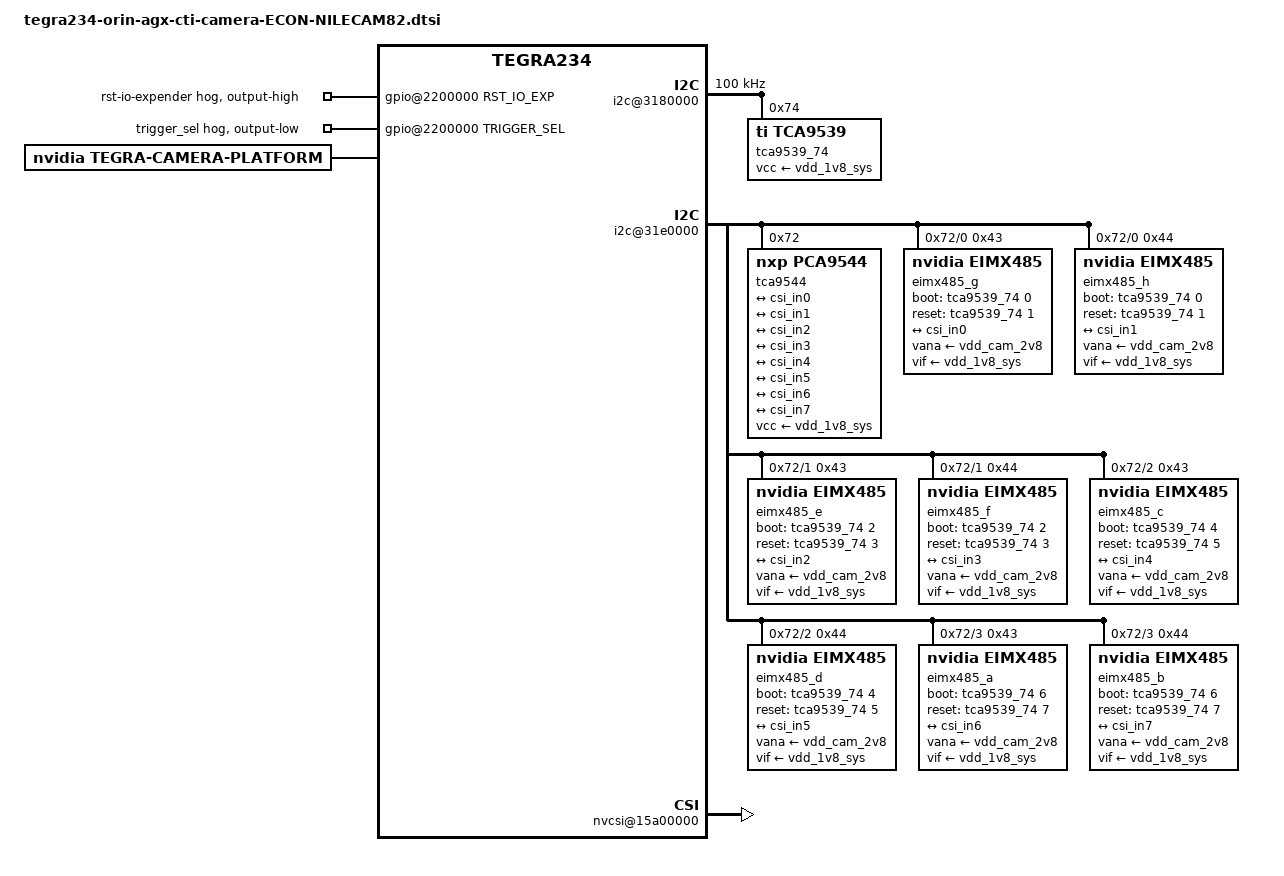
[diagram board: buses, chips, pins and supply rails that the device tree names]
/*
 * Copyright (c) 2022, Connect Tech Inc.  All rights reserved.
 *
 * This program is free software; you can redistribute it and/or modify it
 * under the terms and conditions of the GNU General Public License,
 * version 2, as published by the Free Software Foundation.
 *
 * This program is distributed in the hope it will be useful, but WITHOUT
 * ANY WARRANTY; without even the implied warranty of MERCHANTABILITY or
 * FITNESS FOR A PARTICULAR PURPOSE.  See the GNU General Public License for
 * more details.
 *
 * You should have received a copy of the GNU General Public License
 * along with this program.  If not, see <http://www.gnu.org/licenses/>.
 */

#include "tegra234-orin-agx-cti-csi.dtsi"
#include "tegra234-orin-agx-cti-ECON-HEXCUXVR.dtsi"
#include "dt-bindings/clock/tegra234-clock.h"


#define RST_IO_EXP TEGRA234_MAIN_GPIO(AC,1)
#define PWM_CALIB_GPIO TEGRA234_MAIN_GPIO(H,7) //CAM0_PWDN
#define TRIGGER_SEL TEGRA234_MAIN_GPIO(I,0) //CAM0_RST

#define CAM_LANES 4
#define CAM_LANES_STRING "4" 
#define SERDES_PIX_CLK   "600000000"
#define SERDES_PIX_CLK_4K "750000000" 
#define PIX_CLK SERDES_PIX_CLK

/ {

	gpio@2200000 {
		camera-control-output-high {
			status = "okay";
			gpio-hog;
			gpios = <RST_IO_EXP 0>;
			output-high;
			label = "rst-io-expender"; 
		};
		camera-control-output-low {
			status = "okay";
			gpio-hog;
			gpios = <TRIGGER_SEL 0>;
			output-low;
			label = "trigger_sel";
		};
	};

	i2c@3180000 {
		clock-frequency = <100000>;
		tca9539_74: tca9539@74 {
			compatible = "ti,tca9539";
			gpio-controller;
			#gpio-cells = <2>;
			reg = <0x74>;
			vcc-supply = <&vdd_1v8_sys>;
			status = "okay";
			
			tca9539_74_outlow {
				status = "okay";
				gpio-hog;
				gpios = <0 0 1 0 2 0 3 0 4 0 5 0 6 0 7 0 8 0 9 0 10 0 11 0 12 0 13 0>;
				output-low;
				label = "RST_A","PWDN_A","RST_B","PWDN_B","RST_C","PWDN_C","RST_D","PWDN_D";
			};
			tca9539_74_outhigh {
				status = "disabled";
			};
			tca9539_74_input {
				status = "disabled";
			};
		};
	};

    i2c@31e0000 {
	status = "okay";
	#address-cells = <1>;
	#size-cells = <0>;
        tca9544@72 {
	    status = "okay";
	    compatible = "nxp,pca9544";
	    reg = <0x72>;
	    #address-cells = <1>;
	    #size-cells = <0>;
	    vcc-supply = <&vdd_1v8_sys>;
	    skip_mux_detect;
	    force_bus_start = <0x28>;
            i2c@0 {
                status = "okay";
		reg = <0>;
		i2c-mux,deselect-on-exit;
		#address-cells = <1>;
		#size-cells = <0>;

		eimx485_g@43 {		
			status = "okay";
			compatible ="nvidia,eimx485";
			reg = <0x43>;
			devnode = "video0";
			sensor_model = "eimx485";
			physical_w = "5.60";
			physical_h = "3.175";
			use_decibel_gain = "true";
			use_sensor_mode_id = "true";
			use_dol_wdr_mode = "false";
			use_master_slave_mode = "true";
			limit_analog_gain = "true";
			camera_mipi_lanes =  /bits/ 8 <2>;
			avdd-reg = "vana";
			iovdd-reg = "vif";
			clocks = <&bpmp_clks TEGRA234_CLK_EXTPERIPH1>, <&bpmp_clks TEGRA234_CLK_EXTPERIPH1>;
			clock-names = "extperiph1","pllp_grtba";
			mclk = "extperiph1";
			boot-gpios = <&tca9539_74 0 GPIO_ACTIVE_HIGH>;
			reset-gpios = <&tca9539_74 1 GPIO_ACTIVE_HIGH>;
			vana-supply = <&vdd_cam_2v8>;
			vif-supply = <&vdd_1v8_sys>;
			sio-port = "A";
	 
#define LOCAL_VC_ID "1"
#define TEGRA_SINTERFACE "serial_g"
#include "nilecam_imx485_modes.dtsi"


			ports {
				#address-cells = <1>;
				#size-cells = <0>;
				
				port@0 {
					reg = <0>;
					cam_out0: endpoint {
						status = "okay";
						vc-id = <1>;
						port-index = <6>;
						bus-width = <4>; //<2>;
						remote-endpoint = <&csi_in0>;
					};
				};
			};	
		};     
		eimx485_h@44 {
			status = "okay";
			compatible ="nvidia,eimx485";
			reg = <0x44>;
			devnode = "video1";
			sensor_model = "eimx485";
			physical_w = "5.60";
			physical_h = "3.175";
			use_decibel_gain = "true";
			use_sensor_mode_id = "true";
			use_dol_wdr_mode = "false";
			use_master_slave_mode = "true";
			limit_analog_gain = "true";
			camera_mipi_lanes =  /bits/ 8 <2>;
			avdd-reg = "vana";
			iovdd-reg = "vif";
			clocks = <&bpmp_clks TEGRA234_CLK_EXTPERIPH1>, <&bpmp_clks TEGRA234_CLK_EXTPERIPH1>;
			clock-names = "extperiph1","pllp_grtba";
			mclk = "extperiph1";
			boot-gpios = <&tca9539_74 0 GPIO_ACTIVE_HIGH>;
			reset-gpios = <&tca9539_74 1 GPIO_ACTIVE_HIGH>;
			vana-supply = <&vdd_cam_2v8>;
			vif-supply = <&vdd_1v8_sys>;
			sio-port = "B";
#undef TEGRA_SINTERFACE
#define TEGRA_SINTERFACE "serial_g" //og h
#undef LOCAL_VC_ID
#define LOCAL_VC_ID "0"
#include "nilecam_imx485_modes.dtsi"

			ports {
				#address-cells = <1>;
				#size-cells = <0>;
				port@0 {
					reg = <0>;
					cam_out1: endpoint {
						status = "okay";
						vc-id = <0>;
						port-index = <6>;
						//port-index = <6>;
						bus-width = <4>;
						//bus-width = <CAM_LANES>;
						remote-endpoint = <&csi_in1>;
					};
				};
			};	
		};           
            };

	    i2c@1 {
		status = "okay";
		reg = <1>;
		i2c-mux,deselect-on-exit;
		#address-cells = <1>;
		#size-cells = <0>;
		eimx485_e@43 {		
			status = "okay";
			compatible ="nvidia,eimx485";
			reg = <0x43>;
			devnode = "video2";
			sensor_model = "eimx485";
			physical_w = "5.60";
			physical_h = "3.175";
			use_decibel_gain = "true";
			use_sensor_mode_id = "true";
			use_dol_wdr_mode = "false";
			use_master_slave_mode = "true";
			limit_analog_gain = "true";
			camera_mipi_lanes =  /bits/ 8 <2>;
			avdd-reg = "vana";
			iovdd-reg = "vif";
			clocks = <&bpmp_clks TEGRA234_CLK_EXTPERIPH1>, <&bpmp_clks TEGRA234_CLK_EXTPERIPH1>;
			clock-names = "extperiph1","pllp_grtba";
			mclk = "extperiph1";
			boot-gpios = <&tca9539_74 2 GPIO_ACTIVE_HIGH>;
			reset-gpios = <&tca9539_74 3 GPIO_ACTIVE_HIGH>;
			vana-supply = <&vdd_cam_2v8>;
			vif-supply = <&vdd_1v8_sys>;
			sio-port = "A";
	 
#define LOCAL_VC_ID "1"
#define TEGRA_SINTERFACE "serial_e"
#include "nilecam_imx485_modes.dtsi"


			ports {
				#address-cells = <1>;
				#size-cells = <0>;
				
				port@0 {
					reg = <0>;
					cam_out2: endpoint {
						status = "okay";
						vc-id = <1>;
						port-index = <4>;
						bus-width = <4>; //<2>;
						remote-endpoint = <&csi_in2>;
					};
				};
			};	
		};     
		eimx485_f@44 {
			status = "okay";
			compatible ="nvidia,eimx485";
			reg = <0x44>;
			devnode = "video3";
			sensor_model = "eimx485";
			physical_w = "5.60";
			physical_h = "3.175";
			use_decibel_gain = "true";
			use_sensor_mode_id = "true";
			use_dol_wdr_mode = "false";
			use_master_slave_mode = "true";
			limit_analog_gain = "true";
			camera_mipi_lanes =  /bits/ 8 <2>;
			avdd-reg = "vana";
			iovdd-reg = "vif";
			clocks = <&bpmp_clks TEGRA234_CLK_EXTPERIPH1>, <&bpmp_clks TEGRA234_CLK_EXTPERIPH1>;
			clock-names = "extperiph1","pllp_grtba";
			mclk = "extperiph1";
			boot-gpios = <&tca9539_74 2 GPIO_ACTIVE_HIGH>;
			reset-gpios = <&tca9539_74 3 GPIO_ACTIVE_HIGH>;
			vana-supply = <&vdd_cam_2v8>;
			vif-supply = <&vdd_1v8_sys>;
			sio-port = "B";
#undef TEGRA_SINTERFACE
#define TEGRA_SINTERFACE "serial_e" //og h
#undef LOCAL_VC_ID
#define LOCAL_VC_ID "0"
#include "nilecam_imx485_modes.dtsi"

			ports {
				#address-cells = <1>;
				#size-cells = <0>;
				port@0 {
					reg = <0>;
					cam_out3: endpoint {
						status = "okay";
						vc-id = <0>;
						port-index = <4>;
						//port-index = <6>;
						bus-width = <4>;
						//bus-width = <CAM_LANES>;
						remote-endpoint = <&csi_in3>;
					};
				};
			};	
		}; 
	    };

            i2c@2 {
                status = "okay";
                reg = <2>;
		i2c-mux,deselect-on-exit;
		#address-cells = <1>;
		#size-cells = <0>;
 		eimx485_c@43 {		
			status = "okay";
			compatible ="nvidia,eimx485";
			reg = <0x43>;
			devnode = "video4";
			sensor_model = "eimx485";
			physical_w = "5.60";
			physical_h = "3.175";
			use_decibel_gain = "true";
			use_sensor_mode_id = "true";
			use_dol_wdr_mode = "false";
			use_master_slave_mode = "true";
			limit_analog_gain = "true";
			camera_mipi_lanes =  /bits/ 8 <2>;
			avdd-reg = "vana";
			iovdd-reg = "vif";
			clocks = <&bpmp_clks TEGRA234_CLK_EXTPERIPH1>, <&bpmp_clks TEGRA234_CLK_EXTPERIPH1>;
			clock-names = "extperiph1","pllp_grtba";
			mclk = "extperiph1";
			boot-gpios = <&tca9539_74 4 GPIO_ACTIVE_HIGH>;
			reset-gpios = <&tca9539_74 5 GPIO_ACTIVE_HIGH>;
			vana-supply = <&vdd_cam_2v8>;
			vif-supply = <&vdd_1v8_sys>;
			sio-port = "A";
	 
#define LOCAL_VC_ID "1"
#define TEGRA_SINTERFACE "serial_c"
#include "nilecam_imx485_modes.dtsi"


			ports {
				#address-cells = <1>;
				#size-cells = <0>;
				
				port@0 {
					reg = <0>;
					cam_out4: endpoint {
						status = "okay";
						vc-id = <1>;
						port-index = <2>;
						bus-width = <4>; //<2>;
						remote-endpoint = <&csi_in4>;
					};
				};
			};	
		};     
		eimx485_d@44 {
			status = "okay";
			compatible ="nvidia,eimx485";
			reg = <0x44>;
			devnode = "video5";
			sensor_model = "eimx485";
			physical_w = "5.60";
			physical_h = "3.175";
			use_decibel_gain = "true";
			use_sensor_mode_id = "true";
			use_dol_wdr_mode = "false";
			use_master_slave_mode = "true";
			limit_analog_gain = "true";
			camera_mipi_lanes =  /bits/ 8 <2>;
			avdd-reg = "vana";
			iovdd-reg = "vif";
			clocks = <&bpmp_clks TEGRA234_CLK_EXTPERIPH1>, <&bpmp_clks TEGRA234_CLK_EXTPERIPH1>;
			clock-names = "extperiph1","pllp_grtba";
			mclk = "extperiph1";
			boot-gpios = <&tca9539_74 4 GPIO_ACTIVE_HIGH>;
			reset-gpios = <&tca9539_74 5 GPIO_ACTIVE_HIGH>;
			vana-supply = <&vdd_cam_2v8>;
			vif-supply = <&vdd_1v8_sys>;
			sio-port = "B";
#undef TEGRA_SINTERFACE
#define TEGRA_SINTERFACE "serial_c" //og h
#undef LOCAL_VC_ID
#define LOCAL_VC_ID "0"
#include "nilecam_imx485_modes.dtsi"

			ports {
				#address-cells = <1>;
				#size-cells = <0>;
				port@0 {
					reg = <0>;
					cam_out5: endpoint {
						status = "okay";
						vc-id = <0>;
						port-index = <2>;
						//port-index = <6>;
						bus-width = <4>;
						//bus-width = <CAM_LANES>;
						remote-endpoint = <&csi_in5>;
					};
				};
			};	
		};
            };
                
            i2c@3 {
                status = "okay";
		reg = <3>;
		i2c-mux,deselect-on-exit;
		#address-cells = <1>;
		#size-cells = <0>;
		eimx485_a@43 {		
			status = "okay";
			compatible ="nvidia,eimx485";
			reg = <0x43>;
			devnode = "video6";
			sensor_model = "eimx485";
			physical_w = "5.60";
			physical_h = "3.175";
			use_decibel_gain = "true";
			use_sensor_mode_id = "true";
			use_dol_wdr_mode = "false";
			use_master_slave_mode = "true";
			limit_analog_gain = "true";
			camera_mipi_lanes =  /bits/ 8 <2>;
			avdd-reg = "vana";
			iovdd-reg = "vif";
			clocks = <&bpmp_clks TEGRA234_CLK_EXTPERIPH1>, <&bpmp_clks TEGRA234_CLK_EXTPERIPH1>;
			clock-names = "extperiph1","pllp_grtba";
			mclk = "extperiph1";
			boot-gpios = <&tca9539_74 6 GPIO_ACTIVE_HIGH>;
			reset-gpios = <&tca9539_74 7 GPIO_ACTIVE_HIGH>;
			vana-supply = <&vdd_cam_2v8>;
			vif-supply = <&vdd_1v8_sys>;
			sio-port = "A";
	 
#define LOCAL_VC_ID "1"
#define TEGRA_SINTERFACE "serial_a"
#include "nilecam_imx485_modes.dtsi"


			ports {
				#address-cells = <1>;
				#size-cells = <0>;
				
				port@0 {
					reg = <0>;
					cam_out6: endpoint {
						status = "okay";
						vc-id = <1>;
						port-index = <0>;
						bus-width = <4>; //<2>;
						remote-endpoint = <&csi_in6>;
					};
				};
			};	
		};     
		eimx485_b@44 {
			status = "okay";
			compatible ="nvidia,eimx485";
			reg = <0x44>;
			devnode = "video7";
			sensor_model = "eimx485";
			physical_w = "5.60";
			physical_h = "3.175";
			use_decibel_gain = "true";
			use_sensor_mode_id = "true";
			use_dol_wdr_mode = "false";
			use_master_slave_mode = "true";
			limit_analog_gain = "true";
			camera_mipi_lanes =  /bits/ 8 <2>;
			avdd-reg = "vana";
			iovdd-reg = "vif";
			clocks = <&bpmp_clks TEGRA234_CLK_EXTPERIPH1>, <&bpmp_clks TEGRA234_CLK_EXTPERIPH1>;
			clock-names = "extperiph1","pllp_grtba";
			mclk = "extperiph1";
			boot-gpios = <&tca9539_74 6 GPIO_ACTIVE_HIGH>;
			reset-gpios = <&tca9539_74 7 GPIO_ACTIVE_HIGH>;
			vana-supply = <&vdd_cam_2v8>;
			vif-supply = <&vdd_1v8_sys>;
			sio-port = "B";
#undef TEGRA_SINTERFACE
#define TEGRA_SINTERFACE "serial_a" //og h
#undef LOCAL_VC_ID
#define LOCAL_VC_ID "0"
#include "nilecam_imx485_modes.dtsi"

			ports {
				#address-cells = <1>;
				#size-cells = <0>;
				port@0 {
					reg = <0>;
					cam_out7: endpoint {
						status = "okay";
						vc-id = <0>;
						port-index = <0>;
						//port-index = <6>;
						bus-width = <4>;
						//bus-width = <CAM_LANES>;
						remote-endpoint = <&csi_in7>;
					};
				};
			};	
		};
            };
        };
    };

    tegra-capture-vi {
        status = "okay";
        num-channels = <8>;
        ports {
	    #address-cells = <1>;
	    #size-cells = <0>;
	    status = "okay";
            port@0 {
		reg = <0>;
                status = "okay";
                vi_in0: endpoint {
		    vc-id = <1>;
                    port-index = <5>;
                    status = "okay";
                    bus-width = <4>;
		    //bus-width = <CAM_LANES>;
		    remote-endpoint = <&csi_out0>;
                };
            };
            port@1 {
                status = "okay";
		reg = <1>;
                vi_in1: endpoint {
		    vc-id = <0>;
		    //vc-id = <0>;
                    port-index = <5>;
                    status = "okay";
                    bus-width = <4>; //testing
		    remote-endpoint = <&csi_out1>;
                };
            };
	    port@2 {
		status = "okay";
		reg = <2>;
		vi_in2: endpoint {
			vc-id = <1>;
			port-index = <4>;
			bus-width = <CAM_LANES>;
			remote-endpoint = <&csi_out2>;
			status = "okay";
		};
	    };
	    port@3{
		status = "okay";
		reg = <3>;
		vi_in3: endpoint {
			vc-id = <0>;
			port-index = <4>;
			bus-width = <CAM_LANES>;
			remote-endpoint = <&csi_out3>;
			status = "okay";
		};
	    };
	    port@4 {
		status = "okay";
		reg = <4>;
		vi_in4: endpoint {
			vc-id = <1>;
			port-index = <2>;
			bus-width = <CAM_LANES>;
			remote-endpoint = <&csi_out4>;
			status = "okay";
		};
	    };
	    port@5 {
		status = "okay";
		reg = <5>;
		vi_in5: endpoint {
			vc-id = <0>;
			port-index = <2>;
			bus-width = <CAM_LANES>;
			remote-endpoint = <&csi_out5>;
			status = "okay";
		};
	    };
            port@6 {
                status = "okay";
		reg = <6>;
                vi_in6: endpoint {
                    port-index = <0>;
                    status = "okay";
                    bus-width = <CAM_LANES>;
		    vc-id = <1>;
		    remote-endpoint = <&csi_out6>;
                };
            };
            port@7 {
                status = "okay";
		reg = <7>;
                vi_in7: endpoint {
                    port-index = <0>;
                    status = "okay";
                    bus-width = <CAM_LANES>;
		    vc-id = <0>;
		    remote-endpoint = <&csi_out7>;
                };
            };
        };
    };

    host1x@13e00000 {
        nvcsi@15a00000 {
	    num-channels = <8>;
	    #address-cells = <1>;
	    #size-cells = <0>;
            status = "okay";
            channel@0 {
                status = "okay";
		reg = <0>;
                ports {
		    #address-cells = <1>;
		    #size-cells = <0>;
                    port@0 {
                        status = "okay";
			reg = <0>;
                        csi_in0: endpoint@0 {
                            status = "okay";
                            port-index = <6>;
			    //bus-width = <CAM_LANES>;
                            bus-width = <4>;
			    remote-endpoint = <&cam_out0>;
                        };
                    };
                    port@1 {
                        status = "okay";
			reg = <1>;
                        csi_out0: endpoint@1 {
                            status = "okay";
			    port-index = <6>;
			    //bus-width = <CAM_LANES>;
			    bus-width = <4>;
			    remote-endpoint = <&vi_in0>;
                        };
                    };
                };
            };
            channel@1 {
                status = "okay";
		reg = <1>;
                ports {
		    #address-cells = <1>;
		    #size-cells = <0>;
                    
		    port@0 {
			reg = <0>;
                        status = "okay";
                        csi_in1: endpoint@2 {
                            status = "okay";
			    port-index = <6>;
			    //port-index = <7>;
                            bus-width = <4>;
                            remote-endpoint = <&cam_out1>;
                        };
                    };
                    port@1 {
                        status = "okay";
			reg = <1>;
                        csi_out1: endpoint@3 {
                            status = "okay";
			    port-index = <6>; //<7>;
			    bus-width = <4>;
			    remote-endpoint = <&vi_in1>;
                        };
                    };
                };
            };
	    channel@2 {
                status = "okay";
		reg = <2>;
                ports {
		    #address-cells = <1>;
		    #size-cells = <0>;
                    port@0 {
                        status = "okay";
			reg = <0>;
                        csi_in2: endpoint@4 {
                            status = "okay";
                            port-index = <4>;
			    bus-width = <CAM_LANES>;
                            remote-endpoint = <&cam_out2>;
                        };
                    };
                    port@1 {
                        status = "okay";
			reg = <1>;
                        csi_out2: endpoint@5 {
                            status = "okay";
			    port-index = <4>;
			    bus-width = <CAM_LANES>;
			    remote-endpoint = <&vi_in2>;
                        };
                    };
                };
            };
            channel@3 {
                status = "okay";
		reg = <3>;
                ports {
		    #address-cells = <1>;
		    #size-cells = <0>;
                    
		    port@0 {
			reg = <0>;
                        status = "okay";
                        csi_in3: endpoint@6 {
                            status = "okay";
			    port-index = <5>;
                            bus-width = <CAM_LANES>;
                            remote-endpoint = <&cam_out3>;
                        };
                    };
                    port@1 {
                        status = "okay";
			reg = <1>;
                        csi_out3: endpoint@7 {
                            status = "okay";
			    port-index = <5>;
			    bus-width = <CAM_LANES>;
			    remote-endpoint = <&vi_in3>;
                        };
                    };
                };
            };
	    channel@4 {
                status = "okay";
		reg = <4>;
                ports {
		    #address-cells = <1>;
		    #size-cells = <0>;
                    port@0 {
                        status = "okay";
			reg = <0>;
                        csi_in4: endpoint@8 {
                            status = "okay";
                            port-index = <2>;
			    bus-width = <CAM_LANES>;
                            remote-endpoint = <&cam_out4>;
                        };
                    };
                    port@1 {
                        status = "okay";
			reg = <1>;
                        csi_out4: endpoint@9 {
                            status = "okay";
			    port-index = <2>;
			    bus-width = <CAM_LANES>;
			    remote-endpoint = <&vi_in4>;
                        };
                    };
                };
            };
            channel@5 {
                status = "okay";
		reg = <5>;
                ports {
		    #address-cells = <1>;
		    #size-cells = <0>;
                    
		    port@0 {
			reg = <0>;
                        status = "okay";
                        csi_in5: endpoint@10 {
                            status = "okay";
			    port-index = <3>;
                            bus-width = <CAM_LANES>;
                            remote-endpoint = <&cam_out5>;
                        };
                    };
                    port@1 {
                        status = "okay";
			reg = <1>;
                        csi_out5: endpoint@11 {
                            status = "okay";
			    port-index = <3>;
			    bus-width = <CAM_LANES>;
			    remote-endpoint = <&vi_in5>;
                        };
                    };
                };
            };

            channel@6 {
                status = "okay";
		reg = <6>;
                ports {
		    #address-cells = <1>;
		    #size-cells = <0>;
                    port@0 {
			reg = <0>;
                        status = "okay";
                        csi_in6: endpoint@12 {
                            status = "okay";
                            bus-width = <CAM_LANES>;
			    port-index = <0>;
			    remote-endpoint = <&cam_out6>;
                            //remote-endpoint = <&cam_out2>;
                        };
                    };
                    port@1 {
                        status = "okay";
                        reg = <1>;
			csi_out6: endpoint@13 {
                            status = "okay";
			    remote-endpoint = <&vi_in6>;
                        };
                    };
                };
            };

            channel@7 {
                status = "okay";
		reg = <7>;
                ports {
		    #address-cells = <1>;
		    #size-cells = <0>;
                    port@0 {
			reg = <0>;
                        status = "okay";
                        csi_in7: endpoint@14 {
                            status = "okay";
                            bus-width = <CAM_LANES>;
			    port-index = <1>;
			    remote-endpoint = <&cam_out7>;
                        };
                    };
                    port@1 {
                        status = "okay";
			reg = <1>;
                        csi_out7: endpoint@15 {
                            status = "okay";
			    remote-endpoint = <&vi_in7>;
                        };
                    };
                };
            };
        };
    };


    tegra-camera-platform {
        num_csi_lanes = <16>;
	max_lane_speed = <2500000>;
	min_bits_per_pixel = <10>;
        vi_peak_byte_per_pixel = <2>;
        vi_bw_margin_pct = <25>;
	max_pixel_rate = <750000>;
        isp_peak_byte_per_pixel = <5>;
        isp_bw_margin_pct = <25>;
	compatible = "nvidia, tegra-camera-platform";
	status = "okay";
        
	modules {
            module0 {
                status = "okay";
		badge = "imx485_bottomleft_0LQR";
		orientation = "1";
		position = "bottomleft"; 
                 drivernode0 {
                    status = "okay";
                    pcl_id = "v4l2_sensor";
                    devname = "e-con_cam 40-0043";
                    proc-device-tree = "/proc/device-tree/i2c@31e0000/tca9544@72/i2c@0/eimx485_g@43";
                };
            };
	    module1 {
                status = "okay";
		badge = "imx485_bottomright_0LQR";
		orientation = "1";
		position = "bottomright";
                drivernode0 {
                    status = "okay";
                    pcl_id = "v4l2_sensor";
                    devname = "e-con_cam 40-0044";
                    proc-device-tree = "/proc/device-tree/i2c@31e0000/tca9544@72/i2c@0/eimx485_h@44";
                };
            };
            
	    module2 {
		status = "okay";
		badge = "imx485_topleft_0LQR";
		orientation = "1";
		position = "topleft";
		drivernode0 {
			status = "okay";
			pcl_id = "v4l2_sensor";
			devname = "e-con_cam 41-0043";
			proc-device-tree = "/proc/device-tree/i2c@31e0000/tca9544@72/i2c@1/eimx485_e@43";
		};
	    };
	    module3 {
		status = "okay";
		badge = "imx485_topright_0LQR";
		orientation = "1";
		position = "topright";
		drivernode0 {
			status = "okay";
			pcl_id = "v4l2_sensor";
			devname = "e-con_cam 41-0044";
			proc-device-tree = "/proc/device-tree/i2c@31e0000/tca9544@72/i2c@1/eimx485_f@44";
		};
	    };
            module4 {
		status = "okay";
		badge = "imx485_left_0LQR";
		orientation = "1";
		position = "left";
		drivernode0 {
			status = "okay";
			pcl_id = "v4l2_sensor";
			devname = "e-con_cam 42-0043";
			proc-device-tree = "/proc/device-tree/i2c@31e0000/tca9544@72/i2c@2/eimx485_c@43";
		};
	    };
	    module5 {
		status = "okay";
		badge = "imx485_right_0LQR";
		orientation = "1";
		position = "right";
		drivernode0 {
			status = "okay";
			pcl_id = "v4l2_sensor";
			devname = "e-con_cam 42-0044";
			proc-device-tree = "/proc/device-tree/i2c@31e0000/tca9544@72/i2c@2/eimx485_d@44";
		};
	    };
	    module6 {
		status = "okay";
		badge = "imx485_front_0LQR";
		orientation = "1";
		position = "front";
		drivernode0 {
			status = "okay";
			pcl_id = "v4l2_sensor";
			devname = "e-con_cam 43-0043";
			proc-device-tree = "/proc/device-tree/i2c@31e0000/tca9544@72/i2c@3/eimx485_a@43";
		};
	    };
	    module7 {
		status = "okay";
		badge = "imx485_rear_0LQR";
		orientation = "1";
		position = "rear";
		drivernode0 {
			status = "okay";
			pcl_id = "v4l2_sensor";
			devname = "e-con_cam 43-0044";
			proc-device-tree = "/proc/device-tree/i2c@31e0000/tca9544@72/i2c@3/eimx485_b@44";
		};
	    };
        };
    };
};
